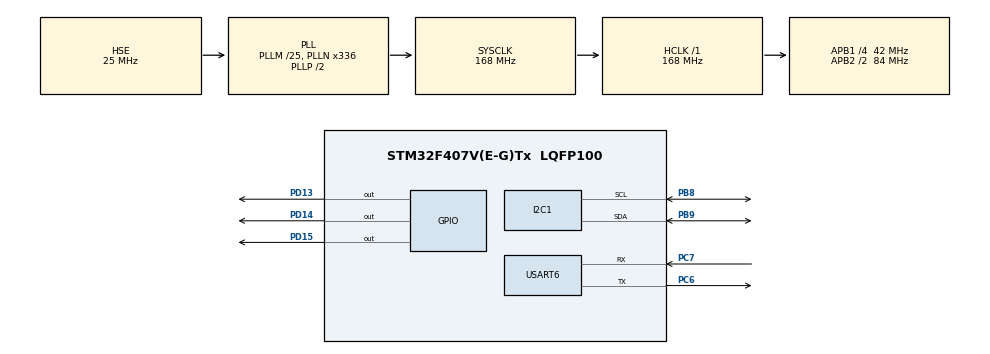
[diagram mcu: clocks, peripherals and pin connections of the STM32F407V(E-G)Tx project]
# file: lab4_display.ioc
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I2C1.I2C_Mode=I2C_Standard
Mcu.Family=STM32F4
Mcu.Name=STM32F407V(E-G)Tx
Mcu.Package=LQFP100
NVIC.I2C1_ER_IRQn=true\:0\:0\:false\:false\:true\:true\:true
NVIC.I2C1_EV_IRQn=true\:0\:0\:false\:false\:true\:true\:true
NVIC.PriorityGroup=NVIC_PRIORITYGROUP_4
PA13.Mode=JTAG_5_pins
PA13.Signal=SYS_JTMS-SWDIO
PA14.Mode=JTAG_5_pins
PA14.Signal=SYS_JTCK-SWCLK
PA15.Mode=JTAG_5_pins
PA15.Signal=SYS_JTDI
PB3.Mode=JTAG_5_pins
PB3.Signal=SYS_JTDO-SWO
PB4.Mode=JTAG_5_pins
PB4.Signal=SYS_JTRST
PB8.GPIO_Pu=GPIO_PULLUP
PB8.Mode=I2C
PB8.Signal=I2C1_SCL
PB9.GPIO_Pu=GPIO_PULLUP
PB9.Mode=I2C
PB9.Signal=I2C1_SDA
PC6.Mode=Asynchronous
PC6.Signal=USART6_TX
PC7.Mode=Asynchronous
PC7.Signal=USART6_RX
PD13.Signal=GPIO_Output
PD14.Signal=GPIO_Output
PD15.Signal=GPIO_Output
PH0-OSC_IN.Mode=HSE-External-Oscillator
PH0-OSC_IN.Signal=RCC_OSC_IN
PH1-OSC_OUT.Mode=HSE-External-Oscillator
PH1-OSC_OUT.Signal=RCC_OSC_OUT
ProjectManager.HeapSize=0x200
ProjectManager.StackSize=0x400
ProjectManager.TargetToolchain=STM32CubeIDE
RCC.48MHZClocksFreq_Value=84000000
RCC.AHBFreq_Value=168000000
RCC.APB1CLKDivider=RCC_HCLK_DIV4
RCC.APB1Freq_Value=42000000
RCC.APB1TimFreq_Value=84000000
RCC.APB2CLKDivider=RCC_HCLK_DIV2
RCC.APB2Freq_Value=84000000
RCC.APB2TimFreq_Value=168000000
RCC.CortexFreq_Value=168000000
RCC.HCLKFreq_Value=168000000
RCC.HSE_VALUE=25000000
RCC.HSI_VALUE=16000000
RCC.LSE_VALUE=32768
RCC.PLLM=25
RCC.PLLN=336
RCC.PLLSourceVirtual=RCC_PLLSOURCE_HSE
RCC.SYSCLKFreq_VALUE=168000000
RCC.SYSCLKSource=RCC_SYSCLKSOURCE_PLLCLK
RCC.VCOOutputFreq_Value=336000000
USART6.VirtualMode=VM_ASYNC
board=custom

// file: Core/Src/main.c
/* USER CODE BEGIN Header */
/**
  ******************************************************************************
  * @file           : main.c
  * @brief          : Main program body
  ******************************************************************************
  * @attention
  *
  * Copyright (c) 2021 STMicroelectronics.
  * All rights reserved.
  *
  * This software is licensed under terms that can be found in the LICENSE file
  * in the root directory of this software component.
  * If no LICENSE file comes with this software, it is provided AS-IS.
  *
  ******************************************************************************
  */
/* USER CODE END Header */
#include "main.h"
#include "i2c.h"
#include "usart.h"
#include "gpio.h"

/* USER CODE BEGIN Includes */

#include "stdint.h"
#include "string.h"
#include "ctype.h"
#include "sdk_uart.h"
#include "kb.h"
#include "oled.h"
#include "fonts.h"

/* USER CODE END Includes */

void SystemClock_Config(void);

/* USER CODE BEGIN 0 */

// --DRIVERS--

void display_str(char* str, char* str2, FontDef font, OLED_COLOR color) {
	oled_Fill(Black);
	oled_SetCursor(0,0);
	oled_WriteString(str,font,color);
	oled_SetCursor(0,20);
	oled_WriteString(str2,font,color);
	oled_UpdateScreen();
}

uint8_t is_button_pressed(){
	return HAL_GPIO_ReadPin(GPIOC, GPIO_PIN_15) == GPIO_PIN_RESET;
}

void transmit_msg(const char *msg){
	UART_Transmit(msg);
}

uint32_t get_time(){
	return HAL_GetTick();
}

//--UTILS--

struct Security {
	uint8_t pass_length;
	uint8_t password[12];
	uint8_t pos;
};

struct Security_Pattern {
	uint32_t time_activated;
	uint8_t max_length;
	uint8_t min_length;
	uint8_t password[12];
	uint8_t pos;
};

struct State {
	struct Security* current_security;
	struct Security_Pattern* edit_security;
	uint8_t edit_mode;
};

char print_buf[128];

void apply_edited_pass(struct State* state) {
	for (int i = 0; i < state->edit_security->pos; i++) {
		state->current_security->password[i] = state->edit_security->password[i];
	}
	state->edit_security->time_activated = get_time();
	state->current_security->pass_length = state->edit_security->pos;
	state->current_security->pos = 0;
	state->edit_security->pos = 0;
}

void reset_pass(struct State* state) {
	state->current_security->pos = 0;
	state->edit_security->time_activated = get_time();
}

void cancel_edit(struct State* state) {
	state->edit_mode = 0;
	state->edit_security->time_activated = get_time();
	state->edit_security->pos = 0;
	snprintf(print_buf, sizeof(print_buf), "Password edit canceled\r\n");
	UART_Transmit((uint8_t*) print_buf);
	display_str("Password edit", "canceled",Font_7x10,White);
}

void try_commit_edit(struct State* state) {
	uint8_t pos = state->edit_security->pos;
	if (pos < state->edit_security->min_length) {
		display_str("Min password", "length - 8",Font_7x10,White);
	} else {
		apply_edited_pass(state);
		state->edit_mode = 0;
		display_str("Password is", "updated",Font_7x10,White);
	}
}

void handle_input_edit(struct State* state, uint8_t key) {
	uint8_t pos = state->edit_security->pos;
	if (pos < state->edit_security->max_length) {
		state->edit_security->password[pos++] = key;
		state->edit_security->pos++;
		oled_Fill(Black);
		oled_SetCursor(0,0);
		for (int i = 0; i < pos; i++) {
			oled_WriteChar('*', Font_11x18, White);
		}
		oled_UpdateScreen();
	} else {
		display_str("Pass max length", "is exceeded", Font_7x10,White);
	}
}

void handle_edit_key(struct State* state, uint8_t key) {
	switch (key) {
		case 10:
			cancel_edit(state);
			break;
		case 12:
			try_commit_edit(state);
			break;
		default:
			handle_input_edit(state, key);
			break;
	}
}

void switch_to_edit(struct State* state) {
	state->edit_mode = 1;
	snprintf(print_buf, sizeof(print_buf), "Password edit started\r\n");
	UART_Transmit((uint8_t*) print_buf);
	display_str("Enter a new", "password",Font_7x10,White);
}

void check_password(struct State* state) {
	if (state->current_security->pos != state->current_security->pass_length) {
		display_str("Password is", "incorrect",Font_7x10,White);
		state->current_security->pos = 0;
		return;
	}
	for (int i = 0; i < state->current_security->pass_length; i++) {
		if (state->current_security->password[i] != state->edit_security->password[i]) {
			display_str("Password is", "incorrect",Font_7x10,White);
			// reset input state
			reset_pass(state);
			return;
		}
	}
	display_str("Security is", "unlocked",Font_7x10,White);
	reset_pass(state);
}

void handle_input_unlock(struct State* state, uint8_t key) {
	uint8_t pos = state->current_security->pos;
	if (pos == 0) {
		state->edit_security->time_activated = get_time();
	}
	if (pos < state->edit_security->max_length) {
		state->current_security->password[pos++] = key;
		state->current_security->pos++;
		oled_Fill(Black);
		oled_SetCursor(0,0);
		for (int i = 0; i < pos; i++) {
			oled_WriteChar('*', Font_11x18, White);
		}
		oled_UpdateScreen();
	} else {
		display_str("Pass max length", "is exceeded",Font_7x10,White);
	}
}

void handle_unlock_key(struct State* state, uint8_t key) {
	switch (key) {
		case 10:
			switch_to_edit(state);
			break;
		case 12:
			check_password(state);
			break;
		default:
			handle_input_unlock(state, key);
			break;
	}
}

void handle_command(struct State* state, uint8_t key) {
	// map key 11 as '0'
	key = key == 11 ? 0 : key;
	if (state->edit_mode) {
		handle_edit_key(state, key);
	} else {
		handle_unlock_key(state, key);
	}
}

void KB_Test(struct State* state) {
 static const uint8_t rows[] = { 0xFE, 0xFD, 0xFB, 0xF7 };
 static uint8_t old_keys[] = { 0, 0, 0, 0 };
 static const uint8_t key_chars[] = {1,2,3,4,5,6,7,8,9,10,11,12};

 for(int current_row=0; current_row<4; current_row++){
	 uint8_t current_key = Check_Row(rows[current_row]);
	  uint8_t *old_key = &old_keys[current_row];

	  for (int i = 0; i < 3; ++i) {
	   int mask = 1 << i;
	   if ((current_key & mask) && !(*old_key & mask)) {
	 	  snprintf(print_buf, sizeof(print_buf), "Pressed key = %d\r\n", key_chars[i + 3 * current_row]);
	 	  			UART_Transmit((uint8_t*) print_buf);
	    handle_command(state, key_chars[i + 3 * current_row]);
	   }
	  }

	  *old_key = current_key;
 }

}

/* USER CODE END 0 */

int main(void)
{

  /* MCU Configuration--------------------------------------------------------*/

  /* Reset of all peripherals, Initializes the Flash interface and the Systick. */
  HAL_Init();

  /* Configure the system clock */
  SystemClock_Config();

  /* Initialize all configured peripherals */
  MX_GPIO_Init();
  MX_USART6_UART_Init();
  MX_I2C1_Init();
  /* USER CODE BEGIN 2 */
  oled_Init();
  print_buf[0] = "\0";

  struct Security security = {};
  struct Security_Pattern pattern = {};
  pattern.max_length = 12;
  pattern.min_length = 8;
  pattern.pos = 8;
  for(int i = 0; i<8; i++){
	  pattern.password[i] = i + 1;
  }
  struct State state = {};
  state.current_security = &security;
  state.edit_security = &pattern;
  state.edit_mode = 0;
  apply_edited_pass(&state);
  display_str("Enter the", "password",Font_7x10,White);
  /* USER CODE END 2 */

  /* Infinite loop */
  /* USER CODE BEGIN WHILE */
  while (1)
    {
		KB_Test(&state);
		HAL_Delay(15);

    /* USER CODE END WHILE */

    }
}

void SystemClock_Config(void)
{
  RCC_OscInitTypeDef RCC_OscInitStruct = {0};
  RCC_ClkInitTypeDef RCC_ClkInitStruct = {0};

  /** Configure the main internal regulator output voltage
  */
  __HAL_RCC_PWR_CLK_ENABLE();
  __HAL_PWR_VOLTAGESCALING_CONFIG(PWR_REGULATOR_VOLTAGE_SCALE1);
  /** Initializes the RCC Oscillators according to the specified parameters
  * in the RCC_OscInitTypeDef structure.
  */
  RCC_OscInitStruct.OscillatorType = RCC_OSCILLATORTYPE_HSE;
  RCC_OscInitStruct.HSEState = RCC_HSE_ON;
  RCC_OscInitStruct.PLL.PLLState = RCC_PLL_ON;
  RCC_OscInitStruct.PLL.PLLSource = RCC_PLLSOURCE_HSE;
  RCC_OscInitStruct.PLL.PLLM = 25;
  RCC_OscInitStruct.PLL.PLLN = 336;
  RCC_OscInitStruct.PLL.PLLP = RCC_PLLP_DIV2;
  RCC_OscInitStruct.PLL.PLLQ = 4;
  if (HAL_RCC_OscConfig(&RCC_OscInitStruct) != HAL_OK)
  {
    Error_Handler();
  }
  /** Initializes the CPU, AHB and APB buses clocks
  */
  RCC_ClkInitStruct.ClockType = RCC_CLOCKTYPE_HCLK|RCC_CLOCKTYPE_SYSCLK
                              |RCC_CLOCKTYPE_PCLK1|RCC_CLOCKTYPE_PCLK2;
  RCC_ClkInitStruct.SYSCLKSource = RCC_SYSCLKSOURCE_PLLCLK;
  RCC_ClkInitStruct.AHBCLKDivider = RCC_SYSCLK_DIV1;
  RCC_ClkInitStruct.APB1CLKDivider = RCC_HCLK_DIV4;
  RCC_ClkInitStruct.APB2CLKDivider = RCC_HCLK_DIV2;

  if (HAL_RCC_ClockConfig(&RCC_ClkInitStruct, FLASH_LATENCY_5) != HAL_OK)
  {
    Error_Handler();
  }
}

void Error_Handler(void)
{
  __disable_irq();
  while (1)
  {
  }
}
